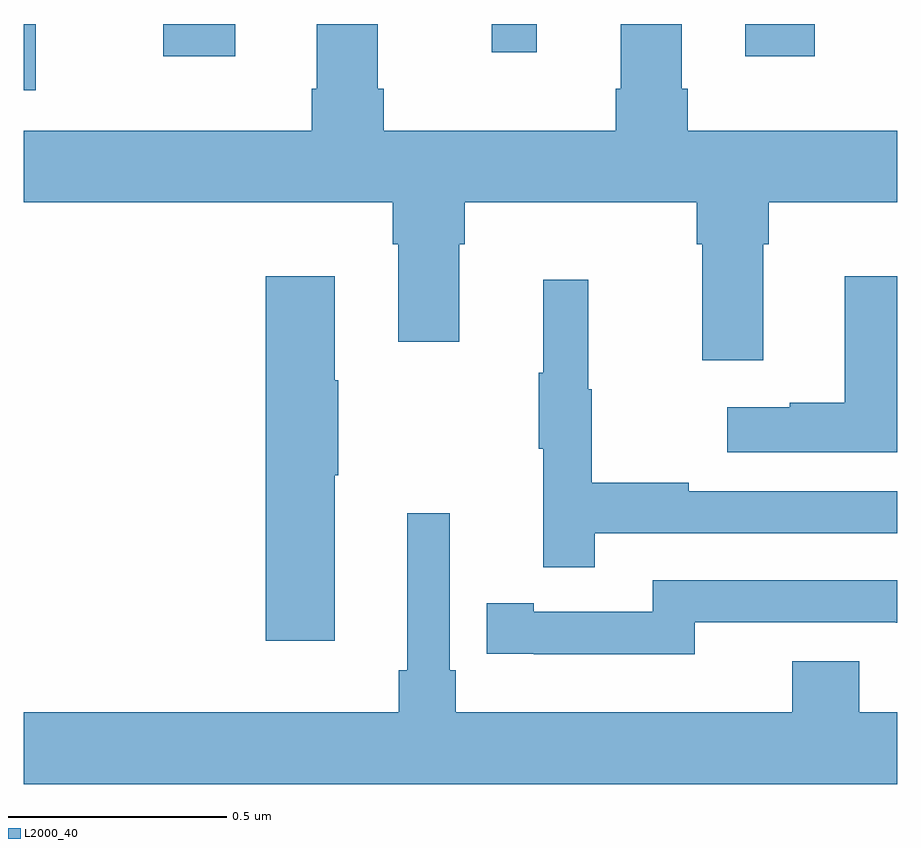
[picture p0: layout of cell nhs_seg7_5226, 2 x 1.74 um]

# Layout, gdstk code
import gdstk
lib = gdstk.Library(unit=1e-6, precision=1e-09)
def R(c, l, rs):  # rectangles x0, y0, x1, y1
    for r in rs: c.add(gdstk.rectangle(r[:2], r[2:], *l))
def P(c, l, *ps):  # polygons
    for p in ps: c.add(gdstk.Polygon(p, *l))
L2000_40 = (2000, 40)

nhs_seg7_5226 = lib.new_cell('nhs_seg7_5226')
R(nhs_seg7_5226, L2000_40, [(183,1024.848,183.028,1025), (183.319,1024.926,183.484,1025), (184.652,1024.926,184.811,1025), (184.072,1024.935,184.175,1025)])
P(nhs_seg7_5226, L2000_40, [(184.693,1024.496),(184.706,1024.496),(184.706,1024.592),(185,1024.592),(185,1024.756),(184.52,1024.756),(184.52,1024.852),(184.507,1024.852),(184.507,1025),(184.367,1025),(184.367,1024.852),(184.355,1024.852),(184.355,1024.756),(183.824,1024.756),(183.824,1024.852),(183.811,1024.852),(183.811,1025),(183.671,1025),(183.671,1024.852),(183.659,1024.852),(183.659,1024.756),(183,1024.756),(183,1024.592),(183.845,1024.592),(183.845,1024.496),(183.857,1024.496),(183.857,1024.272),(183.997,1024.272),(183.997,1024.496),(184.01,1024.496),(184.01,1024.592),(184.541,1024.592),(184.541,1024.496),(184.553,1024.496),(184.553,1024.23),(184.693,1024.23)],
  [(185,1024.423),(184.88,1024.423),(184.88,1024.133),(184.754,1024.133),(184.754,1024.123),(184.611,1024.123),(184.611,1024.019),(185,1024.019)],
  [(183.712,1023.967),(183.72,1023.967),(183.72,1024.184),(183.712,1024.184),(183.712,1024.423),(183.554,1024.423),(183.554,1023.588),(183.712,1023.588)],
  [(184.307,1023.834),(185,1023.834),(185,1023.93),(184.523,1023.93),(184.523,1023.95),(184.3,1023.95),(184.3,1024.164),(184.292,1024.164),(184.292,1024.414),(184.19,1024.414),(184.19,1024.201),(184.179,1024.201),(184.179,1024.027),(184.19,1024.027),(184.19,1023.756),(184.307,1023.756)],
  [(185,1023.424),(184.913,1023.424),(184.913,1023.541),(184.76,1023.541),(184.76,1023.424),(183.989,1023.424),(183.989,1023.52),(183.975,1023.52),(183.975,1023.88),(183.878,1023.88),(183.878,1023.52),(183.859,1023.52),(183.859,1023.424),(183,1023.424),(183,1023.26),(185,1023.26)],
  [(184.536,1023.63),(184.996,1023.63),(184.996,1023.629),(185,1023.629),(185,1023.726),(184.44,1023.726),(184.44,1023.654),(184.168,1023.654),(184.168,1023.674),(184.06,1023.674),(184.06,1023.558),(184.168,1023.558),(184.168,1023.557),(184.536,1023.557)])

lib.write_gds('nhs_seg7_5226.gds')
